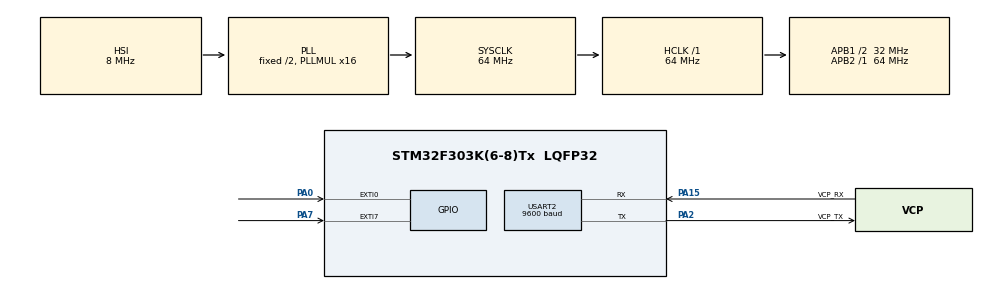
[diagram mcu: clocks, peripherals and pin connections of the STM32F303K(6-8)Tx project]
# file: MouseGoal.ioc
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Mcu.Family=STM32F3
Mcu.Name=STM32F303K(6-8)Tx
Mcu.Package=LQFP32
NVIC.EXTI0_IRQn=true\:0\:0\:false\:false\:true\:true\:true\:true
NVIC.EXTI9_5_IRQn=true\:0\:0\:false\:false\:true\:true\:true\:true
NVIC.PriorityGroup=NVIC_PRIORITYGROUP_4
NVIC.TIM6_DAC1_IRQn=true\:0\:0\:false\:false\:true\:true\:true\:true
PA0.GPIO_ModeDefaultEXTI=GPIO_MODE_IT_FALLING
PA0.Signal=GPXTI0
PA13.GPIO_Label=SWDIO
PA13.Mode=Serial_Wire
PA13.Signal=SYS_JTMS-SWDIO
PA14.GPIO_Label=SWCLK
PA14.Mode=Serial_Wire
PA14.Signal=SYS_JTCK-SWCLK
PA15.GPIO_Label=VCP_RX
PA15.Mode=Asynchronous
PA15.Signal=USART2_RX
PA2.GPIO_Label=VCP_TX
PA2.Mode=Asynchronous
PA2.Signal=USART2_TX
PA7.GPIO_ModeDefaultEXTI=GPIO_MODE_IT_FALLING
PA7.Signal=GPXTI7
PF0\ /\ OSC_IN.GPIO_Label=MCO
PF0\ /\ OSC_IN.Mode=HSE-External-Clock-Source
PF0\ /\ OSC_IN.Signal=RCC_OSC_IN
ProjectManager.HeapSize=0x200
ProjectManager.StackSize=0x400
ProjectManager.TargetToolchain=STM32CubeIDE
RCC.AHBFreq_Value=64000000
RCC.APB1CLKDivider=RCC_HCLK_DIV2
RCC.APB1Freq_Value=32000000
RCC.APB1TimFreq_Value=64000000
RCC.APB2Freq_Value=64000000
RCC.APB2TimFreq_Value=64000000
RCC.CortexFreq_Value=64000000
RCC.HCLKFreq_Value=64000000
RCC.HSE_VALUE=8000000
RCC.HSI_VALUE=8000000
RCC.PLLMUL=RCC_PLL_MUL16
RCC.SYSCLKFreq_VALUE=64000000
RCC.SYSCLKSourceVirtual=RCC_SYSCLKSOURCE_PLLCLK
TIM6.Period=999
TIM6.Prescaler=63
USART2.BaudRate=9600
USART2.VirtualMode-Asynchronous=VM_ASYNC
VP_TIM2_VS_ClockSourceINT.Mode=Internal
VP_TIM6_VS_ClockSourceINT.Mode=Enable_Timer
board=NUCLEO-F303K8

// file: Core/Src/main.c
/* USER CODE BEGIN Header */
/**
  ******************************************************************************
  * @file           : main.c
  * @brief          : Main program body
  ******************************************************************************
  * @attention
  *
  * Copyright (c) 2023 STMicroelectronics.
  * All rights reserved.
  *
  * This software is licensed under terms that can be found in the LICENSE file
  * in the root directory of this software component.
  * If no LICENSE file comes with this software, it is provided AS-IS.
  *
  ******************************************************************************
  */
/* USER CODE END Header */
#include "main.h"

/* USER CODE BEGIN Includes */
#include<stdio.h>
/* USER CODE END Includes */

TIM_HandleTypeDef htim2;
TIM_HandleTypeDef htim6;

UART_HandleTypeDef huart2;

/* USER CODE BEGIN PV */
uint8_t is_running = RESET;
double time;
double first_time;
double second_time;
double third_time;
double fourth_time;
double fifth_time;

uint8_t number_of_run;
/* USER CODE END PV */

void SystemClock_Config(void);
static void MX_GPIO_Init(void);
static void MX_USART2_UART_Init(void);
static void MX_TIM2_Init(void);
static void MX_TIM6_Init(void);

/* USER CODE BEGIN 0 */

void HAL_TIM_PeriodElapsedCallback(TIM_HandleTypeDef *htim)
{
	time += 0.001;
	if(time >= 999999) time = 999999;
}

void HAL_GPIO_EXTI_Callback(uint16_t GPIO_Pin)
{
	if(GPIO_Pin == GPIO_PIN_7){ //START
		time = 0;

		if(is_running == SET){ //走行中に反応したら一個前の走行はコースアウト判定
			number_of_run++;
			printf("Run %2d Course Out\r\n", number_of_run);
			printf("\r\nRunning...\r\n");

		}
		else{ //正常に走行開始
			is_running = SET;
			printf("Running...\r\n");
		}
	}
	else if(GPIO_Pin == GPIO_PIN_0 && is_running == SET){ //GOAL
		number_of_run++;

		double record = time;

		if(number_of_run == 1){
			first_time = record;
		}
		else if(number_of_run == 2){
			second_time = record;
		}
		else if(number_of_run == 3){
			third_time = record;
		}
		else if(number_of_run == 4){
			fourth_time = record;
		}
		else if(number_of_run == 5){
			fifth_time = record;
		}

		is_running = RESET;

		printf("Run %2d, %.4f\r\n", number_of_run, record);

		if(number_of_run != 5){
			printf("\r\nRun %2d, Waiting...\r\n", number_of_run + 1);
		}
	}
}
/* USER CODE END 0 */

int main(void)
{
  /* USER CODE BEGIN 1 */
	setbuf(stdout,NULL);

  /* USER CODE END 1 */

  /* MCU Configuration--------------------------------------------------------*/

  /* Reset of all peripherals, Initializes the Flash interface and the Systick. */
  HAL_Init();

  /* Configure the system clock */
  SystemClock_Config();

  /* Initialize all configured peripherals */
  MX_GPIO_Init();
  MX_USART2_UART_Init();
  MX_TIM2_Init();
  MX_TIM6_Init();
  /* USER CODE BEGIN 2 */
  HAL_TIM_Base_Start_IT(&htim6);

  number_of_run = 0;
  printf("###Program Start###\r\n");

  printf("\r\nRun 1, Waiting...\r\n");
  /* USER CODE END 2 */

  /* Infinite loop */
  /* USER CODE BEGIN WHILE */
  while (1)
  {
	  if(number_of_run == 5){
		  printf("\r\n----Total Result----\r\n");
		  printf("01: %.4f\r\n", first_time);
		  printf("02: %.4f\r\n", second_time);
		  printf("03: %.4f\r\n", third_time);
		  printf("04: %.4f\r\n", fourth_time);
		  printf("05: %.4f\r\n", fifth_time);
		  printf("--------------------\r\n");

		  printf("\r\nRun 1, Waiting...\r\n");
		  number_of_run = 0;
	  }

	  HAL_Delay(100);
    /* USER CODE END WHILE */

  }
}

void SystemClock_Config(void)
{
  RCC_OscInitTypeDef RCC_OscInitStruct = {0};
  RCC_ClkInitTypeDef RCC_ClkInitStruct = {0};

  /** Initializes the RCC Oscillators according to the specified parameters
  * in the RCC_OscInitTypeDef structure.
  */
  RCC_OscInitStruct.OscillatorType = RCC_OSCILLATORTYPE_HSI;
  RCC_OscInitStruct.HSIState = RCC_HSI_ON;
  RCC_OscInitStruct.HSICalibrationValue = RCC_HSICALIBRATION_DEFAULT;
  RCC_OscInitStruct.PLL.PLLState = RCC_PLL_ON;
  RCC_OscInitStruct.PLL.PLLSource = RCC_PLLSOURCE_HSI;
  RCC_OscInitStruct.PLL.PLLMUL = RCC_PLL_MUL16;
  if (HAL_RCC_OscConfig(&RCC_OscInitStruct) != HAL_OK)
  {
    Error_Handler();
  }

  /** Initializes the CPU, AHB and APB buses clocks
  */
  RCC_ClkInitStruct.ClockType = RCC_CLOCKTYPE_HCLK|RCC_CLOCKTYPE_SYSCLK
                              |RCC_CLOCKTYPE_PCLK1|RCC_CLOCKTYPE_PCLK2;
  RCC_ClkInitStruct.SYSCLKSource = RCC_SYSCLKSOURCE_PLLCLK;
  RCC_ClkInitStruct.AHBCLKDivider = RCC_SYSCLK_DIV1;
  RCC_ClkInitStruct.APB1CLKDivider = RCC_HCLK_DIV2;
  RCC_ClkInitStruct.APB2CLKDivider = RCC_HCLK_DIV1;

  if (HAL_RCC_ClockConfig(&RCC_ClkInitStruct, FLASH_LATENCY_2) != HAL_OK)
  {
    Error_Handler();
  }
}

static void MX_TIM2_Init(void)
{

  TIM_ClockConfigTypeDef sClockSourceConfig = {0};
  TIM_MasterConfigTypeDef sMasterConfig = {0};

  htim2.Instance = TIM2;
  htim2.Init.Prescaler = 0;
  htim2.Init.CounterMode = TIM_COUNTERMODE_UP;
  htim2.Init.Period = 4294967295;
  htim2.Init.ClockDivision = TIM_CLOCKDIVISION_DIV1;
  htim2.Init.AutoReloadPreload = TIM_AUTORELOAD_PRELOAD_DISABLE;
  if (HAL_TIM_Base_Init(&htim2) != HAL_OK)
  {
    Error_Handler();
  }
  sClockSourceConfig.ClockSource = TIM_CLOCKSOURCE_INTERNAL;
  if (HAL_TIM_ConfigClockSource(&htim2, &sClockSourceConfig) != HAL_OK)
  {
    Error_Handler();
  }
  sMasterConfig.MasterOutputTrigger = TIM_TRGO_RESET;
  sMasterConfig.MasterSlaveMode = TIM_MASTERSLAVEMODE_DISABLE;
  if (HAL_TIMEx_MasterConfigSynchronization(&htim2, &sMasterConfig) != HAL_OK)
  {
    Error_Handler();
  }

}

static void MX_TIM6_Init(void)
{

  TIM_MasterConfigTypeDef sMasterConfig = {0};

  htim6.Instance = TIM6;
  htim6.Init.Prescaler = 63;
  htim6.Init.CounterMode = TIM_COUNTERMODE_UP;
  htim6.Init.Period = 999;
  htim6.Init.AutoReloadPreload = TIM_AUTORELOAD_PRELOAD_DISABLE;
  if (HAL_TIM_Base_Init(&htim6) != HAL_OK)
  {
    Error_Handler();
  }
  sMasterConfig.MasterOutputTrigger = TIM_TRGO_RESET;
  sMasterConfig.MasterSlaveMode = TIM_MASTERSLAVEMODE_DISABLE;
  if (HAL_TIMEx_MasterConfigSynchronization(&htim6, &sMasterConfig) != HAL_OK)
  {
    Error_Handler();
  }

}

static void MX_USART2_UART_Init(void)
{

  huart2.Instance = USART2;
  huart2.Init.BaudRate = 9600;
  huart2.Init.WordLength = UART_WORDLENGTH_8B;
  huart2.Init.StopBits = UART_STOPBITS_1;
  huart2.Init.Parity = UART_PARITY_NONE;
  huart2.Init.Mode = UART_MODE_TX_RX;
  huart2.Init.HwFlowCtl = UART_HWCONTROL_NONE;
  huart2.Init.OverSampling = UART_OVERSAMPLING_16;
  huart2.Init.OneBitSampling = UART_ONE_BIT_SAMPLE_DISABLE;
  huart2.AdvancedInit.AdvFeatureInit = UART_ADVFEATURE_NO_INIT;
  if (HAL_UART_Init(&huart2) != HAL_OK)
  {
    Error_Handler();
  }

}

static void MX_GPIO_Init(void)
{
  GPIO_InitTypeDef GPIO_InitStruct = {0};

  /* GPIO Ports Clock Enable */
  __HAL_RCC_GPIOF_CLK_ENABLE();
  __HAL_RCC_GPIOA_CLK_ENABLE();

  /*Configure GPIO pins : PA0 PA7 */
  GPIO_InitStruct.Pin = GPIO_PIN_0|GPIO_PIN_7;
  GPIO_InitStruct.Mode = GPIO_MODE_IT_FALLING;
  GPIO_InitStruct.Pull = GPIO_NOPULL;
  HAL_GPIO_Init(GPIOA, &GPIO_InitStruct);

  /* EXTI interrupt init*/
  HAL_NVIC_SetPriority(EXTI0_IRQn, 0, 0);
  HAL_NVIC_EnableIRQ(EXTI0_IRQn);

  HAL_NVIC_SetPriority(EXTI9_5_IRQn, 0, 0);
  HAL_NVIC_EnableIRQ(EXTI9_5_IRQn);

}

/* USER CODE BEGIN 4 */

int _write(int file, char *ptr, int len){
  HAL_UART_Transmit(&huart2,(uint8_t *)ptr,len,10);
  return len;
}

/* USER CODE END 4 */

void Error_Handler(void)
{
  __disable_irq();
  while (1)
  {
  }
}
